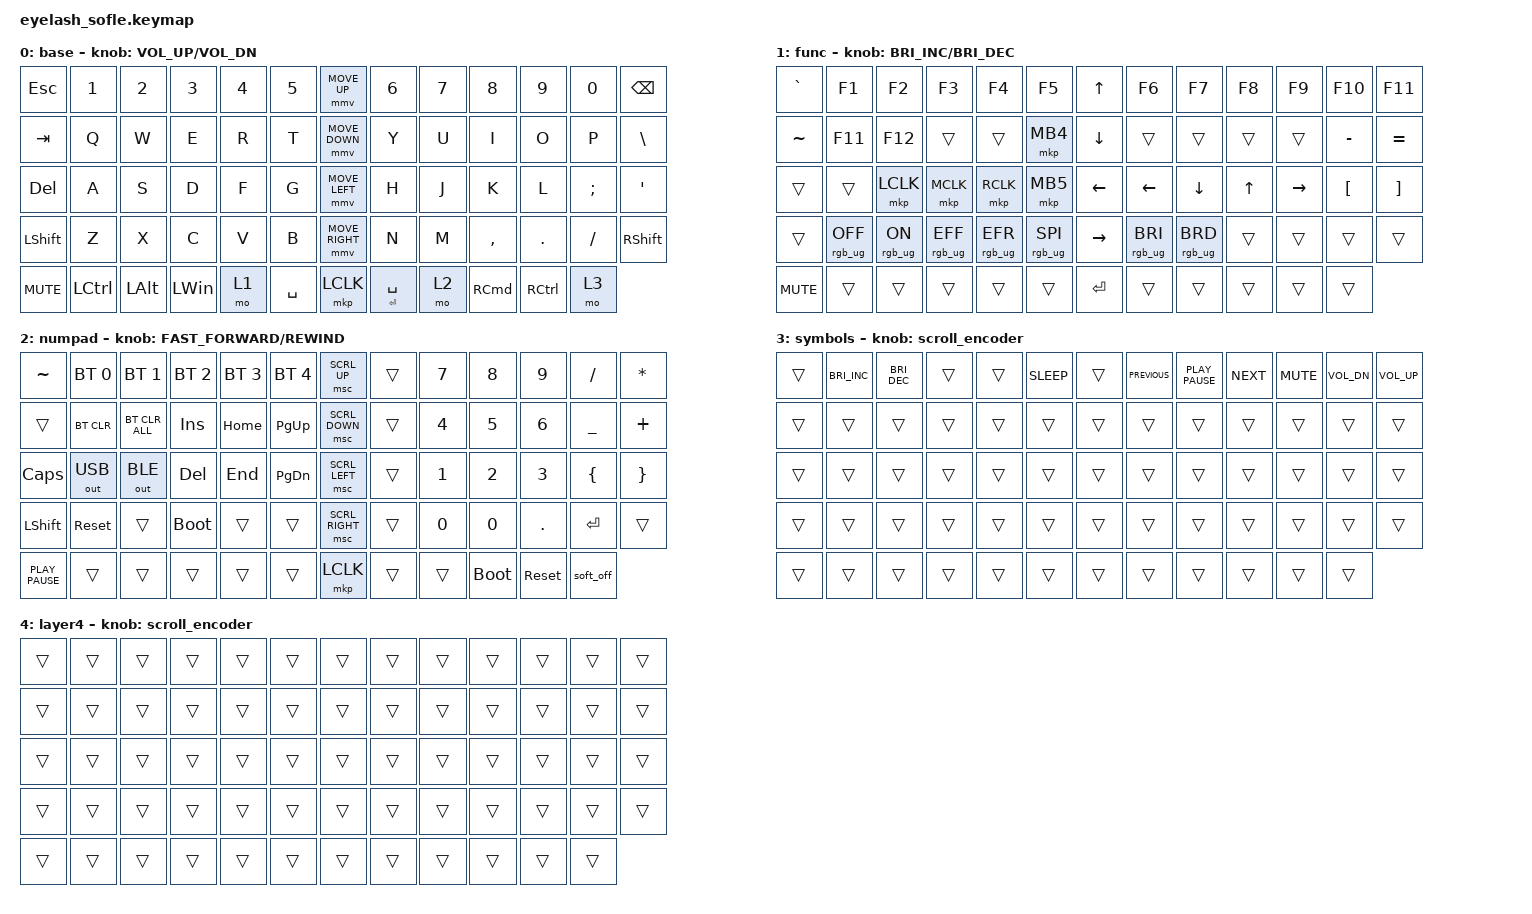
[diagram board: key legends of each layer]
#define ZMK_POINTING_DEFAULT_MOVE_VAL 1200  // 600
#define ZMK_POINTING_DEFAULT_SCRL_VAL 25   // 10

#include <input/processors.dtsi>
#include <zephyr/dt-bindings/input/input-event-codes.h>
#include <behaviors.dtsi>
#include <dt-bindings/zmk/bt.h>
#include <dt-bindings/zmk/keys.h>
#include <dt-bindings/zmk/outputs.h>
#include <dt-bindings/zmk/pointing.h>
#include <dt-bindings/zmk/rgb.h>

&mmv_input_listener { input-processors = <&zip_xy_scaler 2 1>; };

&msc_input_listener { input-processors = <&zip_scroll_scaler 2 1>; };

&msc {
    acceleration-exponent = <1>;      // 0
    time-to-max-speed-ms = <100>;       // 300
    delay-ms = <0>;                   // 0
};

&mmv {
    time-to-max-speed-ms = <500>;
    acceleration-exponent = <1>;
    trigger-period-ms = <16>;
};

&soft_off { hold-time-ms = <2000>; };

/ {
    scroll_encoder: scroll_encoder {
        compatible = "zmk,behavior-sensor-rotate";
        #sensor-binding-cells = <0>;
        bindings = <&msc SCRL_DOWN>, <&msc SCRL_UP>;

        tap-ms = <100>;
    };

    behaviors {
    };

    combos {
        compatible = "zmk,combos";

        softoff {
            bindings = <&soft_off>;
            key-positions = <14 28 40>;
        };
    };

    keymap {
        compatible = "zmk,keymap";

        layer_0 {
            bindings = <
&kp ESC     &kp N1     &kp N2        &kp N3        &kp N4  &kp N5       &mmv MOVE_UP     &kp N6           &kp N7  &kp N8             &kp N9             &kp N0    &kp BACKSPACE
&kp TAB     &kp Q      &kp W         &kp E         &kp R   &kp T        &mmv MOVE_DOWN   &kp Y            &kp U   &kp I              &kp O              &kp P     &kp BSLH
&kp DELETE  &kp A      &kp S         &kp D         &kp F   &kp G        &mmv MOVE_LEFT   &kp H            &kp J   &kp K              &kp L              &kp SEMI  &kp APOS
&kp LSHFT   &kp Z      &kp X         &kp C         &kp V   &kp B        &mmv MOVE_RIGHT  &kp N            &kp M   &kp COMMA          &kp DOT            &kp FSLH  &kp RIGHT_SHIFT
&kp C_MUTE  &kp LCTRL  &kp LEFT_ALT  &kp LEFT_WIN  &mo 1   &kp SPACE    &mkp LCLK        &mt ENTER SPACE  &mo 2   &kp RIGHT_COMMAND  &kp RIGHT_CONTROL  &mo 3
            >;

            sensor-bindings = <&inc_dec_kp C_VOLUME_UP C_VOL_DN>;
            display-name = "base";
        };

        layer_1 {
            bindings = <
&kp GRAVE   &kp F1           &kp F2          &kp F3           &kp F4           &kp F5             &kp UP_ARROW     &kp F6           &kp F7           &kp F8        &kp F9           &kp F10           &kp F11
&kp TILDE   &kp F11          &kp F12         &trans           &trans           &mkp MB4           &kp DOWN_ARROW   &trans           &trans           &trans        &trans           &kp MINUS         &kp EQUAL
&trans      &trans           &mkp LCLK       &mkp MCLK        &mkp RCLK        &mkp MB5           &kp LEFT_ARROW   &kp LEFT_ARROW   &kp DOWN_ARROW   &kp UP_ARROW  &kp RIGHT_ARROW  &kp LEFT_BRACKET  &kp RIGHT_BRACKET
&trans      &rgb_ug RGB_OFF  &rgb_ug RGB_ON  &rgb_ug RGB_EFF  &rgb_ug RGB_EFR  &rgb_ug RGB_SPI    &kp RIGHT_ARROW  &rgb_ug RGB_BRI  &rgb_ug RGB_BRD  &trans        &trans           &trans            &trans
&kp C_MUTE  &trans           &trans          &trans           &trans           &trans             &kp ENTER        &trans           &trans           &trans        &trans           &trans
            >;

            display-name = "func";
            sensor-bindings = <&inc_dec_kp C_BRIGHTNESS_INC C_BRIGHTNESS_DEC>;
        };

        layer_2 {
            bindings = <
&kp TILDE         &bt BT_SEL 0  &bt BT_SEL 1    &bt BT_SEL 2  &bt BT_SEL 3  &bt BT_SEL 4     &msc SCRL_UP     &trans  &kp NUMBER_7  &kp NUMBER_8  &kp NUMBER_9  &kp SLASH  &kp ASTERISK
&trans            &bt BT_CLR    &bt BT_CLR_ALL  &kp INS       &kp HOME      &kp PAGE_UP      &msc SCRL_DOWN   &trans  &kp NUMBER_4  &kp NUMBER_5  &kp NUMBER_6  &kp UNDER  &kp PLUS
&kp CAPS          &out OUT_USB  &out OUT_BLE    &kp DEL       &kp END       &kp PAGE_DOWN    &msc SCRL_LEFT   &trans  &kp NUMBER_1  &kp NUMBER_2  &kp NUMBER_3  &kp LBRC   &kp RBRC
&kp LEFT_SHIFT    &sys_reset    &trans          &bootloader   &trans        &trans           &msc SCRL_RIGHT  &trans  &kp NUMBER_0  &kp NUMBER_0  &kp PERIOD    &kp ENTER  &trans
&kp K_PLAY_PAUSE  &trans        &trans          &trans        &trans        &trans           &mkp LCLK        &trans  &trans        &bootloader   &sys_reset    &soft_off
            >;

            display-name = "numpad";
            sensor-bindings = <&inc_dec_kp C_FAST_FORWARD C_REWIND>;
        };

        layer_3 {
            bindings = <
&trans  &kp C_BRIGHTNESS_INC  &kp C_BRIGHTNESS_DEC  &trans  &trans  &kp K_SLEEP    &trans  &kp K_PREVIOUS  &kp K_PLAY_PAUSE  &kp K_NEXT  &kp K_MUTE  &kp C_VOL_DN  &kp C_VOLUME_UP
&trans  &trans                &trans                &trans  &trans  &trans         &trans  &trans          &trans            &trans      &trans      &trans        &trans
&trans  &trans                &trans                &trans  &trans  &trans         &trans  &trans          &trans            &trans      &trans      &trans        &trans
&trans  &trans                &trans                &trans  &trans  &trans         &trans  &trans          &trans            &trans      &trans      &trans        &trans
&trans  &trans                &trans                &trans  &trans  &trans         &trans  &trans          &trans            &trans      &trans      &trans
            >;

            display-name = "symbols";
            sensor-bindings = <&scroll_encoder>;
        };

        layer_4 {
            bindings = <
&trans  &trans  &trans  &trans  &trans  &trans    &trans  &trans  &trans  &trans  &trans  &trans  &trans
&trans  &trans  &trans  &trans  &trans  &trans    &trans  &trans  &trans  &trans  &trans  &trans  &trans
&trans  &trans  &trans  &trans  &trans  &trans    &trans  &trans  &trans  &trans  &trans  &trans  &trans
&trans  &trans  &trans  &trans  &trans  &trans    &trans  &trans  &trans  &trans  &trans  &trans  &trans
&trans  &trans  &trans  &trans  &trans  &trans    &trans  &trans  &trans  &trans  &trans  &trans
            >;

            display-name = "layer4";
            sensor-bindings = <&scroll_encoder>;
        };
    };
};
